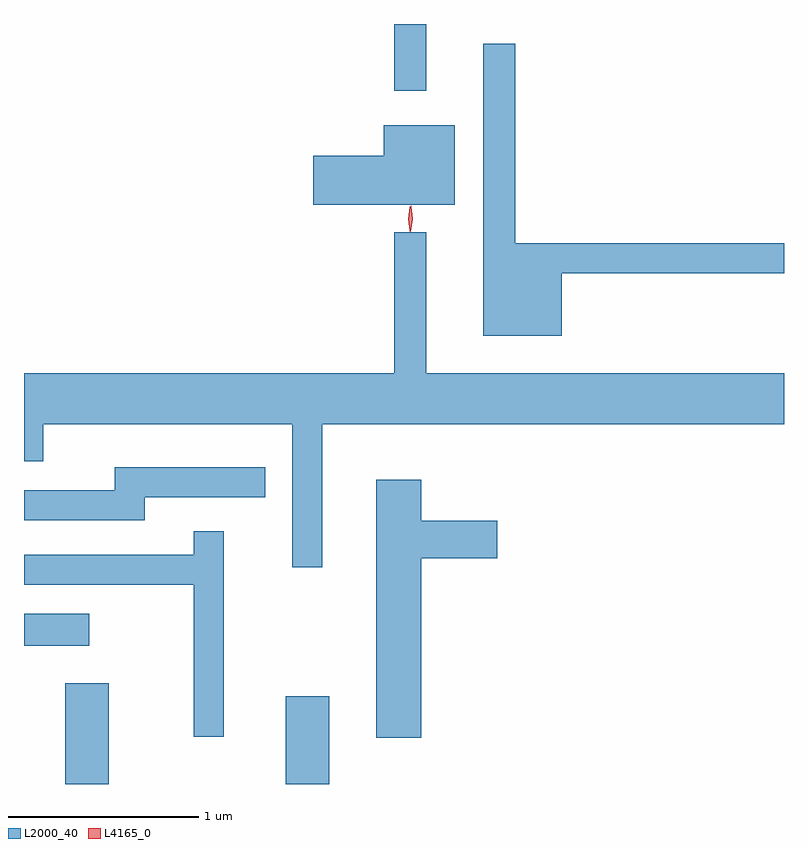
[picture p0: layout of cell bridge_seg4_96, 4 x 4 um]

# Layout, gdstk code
import gdstk
lib = gdstk.Library(unit=1e-6, precision=1e-09)
def R(c, l, rs):  # rectangles x0, y0, x1, y1
    for r in rs: c.add(gdstk.rectangle(r[:2], r[2:], *l))
def P(c, l, *ps):  # polygons
    for p in ps: c.add(gdstk.Polygon(p, *l))
L2000_40 = (2000, 40)
L4165_0 = (4165, 0)

bridge_seg4_96 = lib.new_cell('bridge_seg4_96')
R(bridge_seg4_96, L2000_40, [(1026.881,1339.463,1027.109,1339.994), (1028.041,1339.463,1028.269,1339.924), (1026.663,1340.191,1027.007,1340.359), (1028.611,1343.113,1028.779,1343.463)])
P(bridge_seg4_96, L2000_40, [(1029.494,1342.151),(1030.663,1342.151),(1030.663,1342.309),(1029.249,1342.309),(1029.249,1343.358),(1029.081,1343.358),(1029.081,1341.821),(1029.494,1341.821)],
  [(1028.929,1342.929),(1028.556,1342.929),(1028.556,1342.769),(1028.186,1342.769),(1028.186,1342.511),(1028.929,1342.511)],
  [(1026.663,1341.161),(1026.764,1341.161),(1026.764,1341.356),(1028.076,1341.356),(1028.076,1340.603),(1028.234,1340.603),(1028.234,1341.356),(1030.663,1341.356),(1030.663,1341.624),(1028.779,1341.624),(1028.779,1342.368),(1028.611,1342.368),(1028.611,1341.624),(1026.663,1341.624)],
  [(1027.299,1340.971),(1027.933,1340.971),(1027.933,1341.129),(1027.141,1341.129),(1027.141,1341.009),(1026.663,1341.009),(1026.663,1340.851),(1027.299,1340.851)],
  [(1028.754,1340.651),(1029.154,1340.651),(1029.154,1340.849),(1028.754,1340.849),(1028.754,1341.064),(1028.516,1341.064),(1028.516,1339.706),(1028.754,1339.706)],
  [(1027.714,1340.793),(1027.556,1340.793),(1027.556,1340.669),(1026.663,1340.669),(1026.663,1340.511),(1027.556,1340.511),(1027.556,1339.713),(1027.714,1339.713)])
P(bridge_seg4_96, L4165_0, [(1028.698,1342.37),(1028.698,1342.37),(1028.689,1342.438),(1028.699,1342.505),(1028.7,1342.506),(1028.7,1342.505),(1028.709,1342.438),(1028.699,1342.37)],
  [(1028.694,1342.373),(1028.685,1342.436),(1028.694,1342.5),(1028.695,1342.5),(1028.695,1342.5),(1028.705,1342.436),(1028.695,1342.373),(1028.695,1342.373)])

lib.write_gds('bridge_seg4_96.gds')
